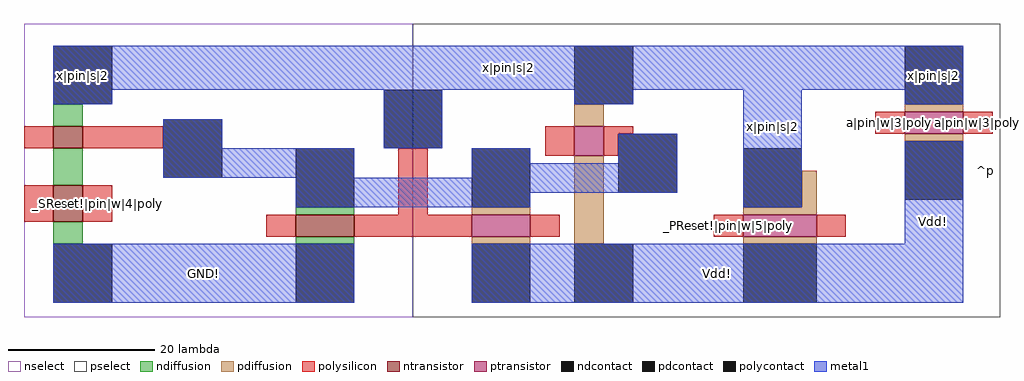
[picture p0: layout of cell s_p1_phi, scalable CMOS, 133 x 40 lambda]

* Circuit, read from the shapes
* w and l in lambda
.subckt s_p1_phi GND! Vdd! _PReset!|pin|w|5|poly _SReset!|pin|w|4|poly a|pin|w|3|poly x|pin|s|2
M1 n1 _SReset!|pin|w|4|poly GND! VSUBS nfet w=4 l=5
M2 x|pin|s|2 n2 n1 VSUBS nfet w=4 l=3
M3 n2 x|pin|s|2 GND! VSUBS nfet w=8 l=3
M4 n2 x|pin|s|2 Vdd! NWELL pfet w=8 l=3
M5 x|pin|s|2 n2 Vdd! NWELL pfet w=4 l=4
M6 x|pin|s|2 _PReset!|pin|w|5|poly Vdd! NWELL pfet w=10 l=3
M7 x|pin|s|2 a|pin|w|3|poly Vdd! NWELL pfet w=8 l=3
.ends

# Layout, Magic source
magic
tech scmos
<< nselect >>
rect -53 23 0 63
<< pselect >>
rect 0 23 80 63
<< ndiffusion >>
rect -49 49 -45 52
rect -49 41 -45 46
rect -16 37 -8 38
rect -49 33 -45 36
rect -16 33 -8 34
<< pdiffusion >>
rect 22 49 26 52
rect 67 51 75 52
rect 8 37 16 38
rect 8 33 16 34
rect 22 33 26 45
rect 67 47 75 48
rect 53 38 55 43
rect 45 37 55 38
rect 45 33 55 34
<< ntransistor >>
rect -49 46 -45 49
rect -49 36 -45 41
rect -16 34 -8 37
<< ptransistor >>
rect 22 45 26 49
rect 67 48 75 51
rect 8 34 16 37
rect 45 34 55 37
<< polysilicon >>
rect -53 46 -49 49
rect -45 46 -34 49
rect -53 36 -49 41
rect -45 36 -41 41
rect -2 37 2 46
rect 18 45 22 49
rect 26 48 30 49
rect 63 48 67 51
rect 75 48 79 51
rect 26 45 28 48
rect -20 34 -16 37
rect -8 34 8 37
rect 16 34 20 37
rect 41 34 45 37
rect 55 34 59 37
<< ndcontact >>
rect -49 52 -41 60
rect -16 38 -8 46
rect -49 25 -41 33
rect -16 25 -8 33
<< pdcontact >>
rect 22 52 30 60
rect 67 52 75 60
rect 8 38 16 46
rect 8 25 16 33
rect 45 38 53 46
rect 67 39 75 47
rect 22 25 30 33
rect 45 25 55 33
<< polycontact >>
rect -34 42 -26 50
rect -4 46 4 54
rect 28 40 36 48
<< metal1 >>
rect -49 54 75 60
rect -49 52 -41 54
rect -34 46 -26 50
rect -4 46 4 54
rect 22 52 30 54
rect -34 42 -8 46
rect 8 44 16 46
rect 28 44 36 48
rect 8 42 36 44
rect -16 40 36 42
rect -16 38 16 40
rect 45 38 53 54
rect 67 52 75 54
rect 67 33 75 47
rect -49 25 -8 33
rect 8 25 75 33
<< labels >>
rlabel space 75 23 81 63 3 ^p
rlabel metal1 -49 54 75 60 1 x|pin|s|2
rlabel metal1 45 38 53 60 1 x|pin|s|2
rlabel polysilicon 63 48 67 51 1 a|pin|w|3|poly
rlabel polysilicon 75 48 79 51 1 a|pin|w|3|poly
rlabel polysilicon -45 36 -41 41 1 _SReset!|pin|w|4|poly
rlabel polysilicon -53 36 -49 41 1 _SReset!|pin|w|4|poly
rlabel polysilicon 41 34 45 37 1 _PReset!|pin|w|5|poly
rlabel polysilicon 55 34 59 37 1 _PReset!|pin|w|5|poly
rlabel metal1 8 25 75 33 1 Vdd!
rlabel metal1 67 25 75 47 1 Vdd!
rlabel metal1 -49 25 -8 33 1 GND!
rlabel metal1 67 52 75 60 1 x|pin|s|2
rlabel metal1 -49 52 -41 60 1 x|pin|s|2
<< end >>
